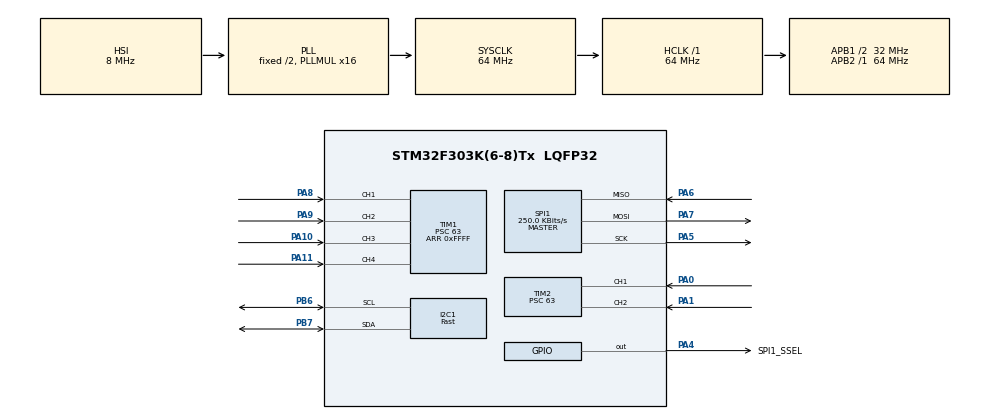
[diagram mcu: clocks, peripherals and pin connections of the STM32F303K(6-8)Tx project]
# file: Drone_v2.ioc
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I2C1.I2C_Speed_Mode=I2C_Fast
I2C1.Timing=0x0000020B
Mcu.Family=STM32F3
Mcu.Name=STM32F303K(6-8)Tx
Mcu.Package=LQFP32
NVIC.I2C1_ER_IRQn=true\:2\:0\:true\:false\:true\:true\:true
NVIC.I2C1_EV_IRQn=true\:3\:0\:true\:false\:true\:true\:true
NVIC.PriorityGroup=NVIC_PRIORITYGROUP_4
NVIC.TIM1_CC_IRQn=true\:0\:0\:false\:false\:true\:true\:true
NVIC.TIM2_IRQn=true\:1\:0\:true\:false\:true\:true\:true
PA0.Signal=S_TIM2_CH1_ETR
PA1.Signal=S_TIM2_CH2
PA10.Signal=S_TIM1_CH3
PA11.Signal=S_TIM1_CH4
PA4.GPIO_Label=SPI1_SSEL
PA4.Signal=GPIO_Output
PA5.Mode=Full_Duplex_Master
PA5.Signal=SPI1_SCK
PA6.Mode=Full_Duplex_Master
PA6.Signal=SPI1_MISO
PA7.Mode=Full_Duplex_Master
PA7.Signal=SPI1_MOSI
PA8.Signal=S_TIM1_CH1
PA9.Signal=S_TIM1_CH2
PB6.GPIO_FM6=__NULL
PB6.GPIO_Speed=GPIO_SPEED_FREQ_HIGH
PB6.Mode=I2C
PB6.Signal=I2C1_SCL
PB7.GPIO_FM7=SYSCFG_CFGR1_I2C_PB7_FMP
PB7.Mode=I2C
PB7.Signal=I2C1_SDA
ProjectManager.HeapSize=0x200
ProjectManager.StackSize=0x400
ProjectManager.TargetToolchain=MDK-ARM V5
RCC.AHBFreq_Value=64000000
RCC.APB1CLKDivider=RCC_HCLK_DIV2
RCC.APB1Freq_Value=32000000
RCC.APB1TimFreq_Value=64000000
RCC.APB2Freq_Value=64000000
RCC.APB2TimFreq_Value=64000000
RCC.CortexFreq_Value=64000000
RCC.HCLKFreq_Value=64000000
RCC.HSE_VALUE=8000000
RCC.HSI_VALUE=8000000
RCC.PLLMUL=RCC_PLL_MUL16
RCC.SYSCLKFreq_VALUE=64000000
RCC.SYSCLKSourceVirtual=RCC_SYSCLKSOURCE_PLLCLK
SH.S_TIM1_CH1.0=TIM1_CH1,Input_Capture1_from_TI1
SH.S_TIM1_CH2.0=TIM1_CH2,Input_Capture2_from_TI2
SH.S_TIM1_CH3.0=TIM1_CH3,Input_Capture3_from_TI3
SH.S_TIM1_CH4.0=TIM1_CH4,Input_Capture4_from_TI4
SH.S_TIM2_CH1_ETR.0=TIM2_CH1,Input_Capture1_from_TI1
SH.S_TIM2_CH2.0=TIM2_CH2,Input_Capture2_from_TI2
SPI1.BaudRatePrescaler=SPI_BAUDRATEPRESCALER_256
SPI1.CLKPhase=SPI_PHASE_2EDGE
SPI1.CalculateBaudRate=250.0 KBits/s
SPI1.DataSize=SPI_DATASIZE_8BIT
SPI1.Direction=SPI_DIRECTION_2LINES
SPI1.Mode=SPI_MODE_MASTER
SPI1.VirtualType=VM_MASTER
TIM1.Channel-Input_Capture1_from_TI1=TIM_CHANNEL_1
TIM1.Channel-Input_Capture2_from_TI2=TIM_CHANNEL_2
TIM1.Channel-Input_Capture3_from_TI3=TIM_CHANNEL_3
TIM1.Channel-Input_Capture4_from_TI4=TIM_CHANNEL_4
TIM1.ICPolarity_CH2=TIM_INPUTCHANNELPOLARITY_BOTHEDGE
TIM1.ICPolarity_CH3=TIM_INPUTCHANNELPOLARITY_BOTHEDGE
TIM1.ICPolarity_CH4=TIM_INPUTCHANNELPOLARITY_BOTHEDGE
TIM1.Period=0xFFFF
TIM1.Prescaler=63
TIM2.Channel-Input_Capture1_from_TI1=TIM_CHANNEL_1
TIM2.Channel-Input_Capture2_from_TI2=TIM_CHANNEL_2
TIM2.ICPolarity_CH1=TIM_INPUTCHANNELPOLARITY_BOTHEDGE
TIM2.ICPolarity_CH2=TIM_INPUTCHANNELPOLARITY_BOTHEDGE
TIM2.Period=0xFFFF
TIM2.Prescaler=63
board=NUCLEO-F303K8

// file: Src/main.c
/* USER CODE BEGIN Header */
/**
  ******************************************************************************
  * @file           : main.c
  * @brief          : Main program body
  ******************************************************************************
  * @attention
  *
  * <h2><center>&copy; Copyright (c) 2020 STMicroelectronics.
  * All rights reserved.</center></h2>
  *
  * This software component is licensed by ST under BSD 3-Clause license,
  * the "License"; You may not use this file except in compliance with the
  * License. You may obtain a copy of the License at:
  *                        opensource.org/licenses/BSD-3-Clause
  *
  ******************************************************************************
  */
/* USER CODE END Header */

#include "main.h"

/* USER CODE BEGIN Includes */
#include "mpu6050.h"
#include "motor_control.h"

/* USER CODE END Includes */

I2C_HandleTypeDef hi2c1;

SPI_HandleTypeDef hspi1;

TIM_HandleTypeDef htim1;
TIM_HandleTypeDef htim2;

/* USER CODE BEGIN PV */
TM_MPU6050_t MPU6050;
struct Input_captures{
	int32_t capt1[6];
	int32_t capt2[6];
	int is_First_Captured[6];
}values;

struct Remote{
	int32_t roll;
	int32_t pitch;
	int32_t throttle;
	int32_t yaw;
	int32_t vrb;
	int32_t vra;
}cmd;
/* USER CODE END PV */

void SystemClock_Config(void);
static void MX_GPIO_Init(void);
static void MX_I2C1_Init(void);
static void MX_SPI1_Init(void);
static void MX_TIM1_Init(void);
static void MX_TIM2_Init(void);

/* USER CODE BEGIN 0 */
void HAL_TIM_IC_CaptureCallback(TIM_HandleTypeDef *htim){

	if(htim->Instance == TIM1){
		if(htim->Channel == HAL_TIM_ACTIVE_CHANNEL_1){
			if (values.is_First_Captured[0] == 0){
				values.capt1[0] = HAL_TIM_ReadCapturedValue(htim, TIM_CHANNEL_1);
				values.is_First_Captured[0] = 1;
			}
			else if (values.is_First_Captured[0]){
				values.capt2[0] = HAL_TIM_ReadCapturedValue(htim, TIM_CHANNEL_1);
				cmd.roll = values.capt2[0] - values.capt1[0];

				if (cmd.roll < 0){
					cmd.roll += 0xFFFF;
				}
				values.is_First_Captured[0] = 0;
			}
		}
		else if(htim->Channel == HAL_TIM_ACTIVE_CHANNEL_2){
			if (values.is_First_Captured[1] == 0){
				values.capt1[1] = HAL_TIM_ReadCapturedValue(htim, TIM_CHANNEL_2);
				values.is_First_Captured[1] = 1;
			}
			else if (values.is_First_Captured[1]){
				values.capt2[1] = HAL_TIM_ReadCapturedValue(htim, TIM_CHANNEL_2);
				cmd.pitch = values.capt2[1] - values.capt1[1];

				if (cmd.pitch < 0){
					cmd.pitch += 0xFFFF;
				}
				values.is_First_Captured[1] = 0;
			}
		}
		else if(htim->Channel == HAL_TIM_ACTIVE_CHANNEL_3){
			if (values.is_First_Captured[2] == 0){
				values.capt1[2] = HAL_TIM_ReadCapturedValue(htim, TIM_CHANNEL_3);
				values.is_First_Captured[2] = 1;
			}
			else if (values.is_First_Captured[2]){
				values.capt2[2] = HAL_TIM_ReadCapturedValue(htim, TIM_CHANNEL_3);
				cmd.throttle = values.capt2[2] - values.capt1[2];

				if (cmd.throttle < 0){
					cmd.throttle += 0xFFFF;
				}
				values.is_First_Captured[2] = 0;
			}
		}
		else if(htim->Channel == HAL_TIM_ACTIVE_CHANNEL_4){
			if (values.is_First_Captured[3] == 0){
				values.capt1[3] = HAL_TIM_ReadCapturedValue(htim, TIM_CHANNEL_4);
				values.is_First_Captured[3] = 1;
			}
			else if (values.is_First_Captured[3]){
				values.capt2[3] = HAL_TIM_ReadCapturedValue(htim, TIM_CHANNEL_4);
				cmd.yaw = values.capt2[3] - values.capt1[3];

				if (cmd.yaw < 0){
					cmd.yaw += 0xFFFF;
				}
				values.is_First_Captured[3] = 0;
			}
		}
	}
	else if(htim->Instance == TIM2){
		if(htim->Channel == HAL_TIM_ACTIVE_CHANNEL_1){
			if (values.is_First_Captured[4] == 0){
				values.capt1[4] = HAL_TIM_ReadCapturedValue(htim, TIM_CHANNEL_1);
				values.is_First_Captured[4] = 1;
			}
			else if (values.is_First_Captured[4]){
				values.capt2[4] = HAL_TIM_ReadCapturedValue(htim, TIM_CHANNEL_1);
				cmd.vrb = values.capt2[4] - values.capt1[4];

				if (cmd.vrb < 0){
					cmd.vrb += 0xFFFF;
				}
				values.is_First_Captured[4] = 0;
			}
		}
		else if(htim->Channel == HAL_TIM_ACTIVE_CHANNEL_2){
			if (values.is_First_Captured[5] == 0){
				values.capt1[5] = HAL_TIM_ReadCapturedValue(htim, TIM_CHANNEL_2);
				values.is_First_Captured[5] = 1;
			}
			else if (values.is_First_Captured[5]){
				values.capt2[5] = HAL_TIM_ReadCapturedValue(htim, TIM_CHANNEL_2);
				cmd.vra = values.capt2[5] - values.capt1[5];

				if (cmd.vra < 0){
					cmd.vra += 0xFFFF;
				}
				values.is_First_Captured[5] = 0;
			}
		}
	}

}

/* USER CODE END 0 */

int main(void)
{

  /* MCU Configuration--------------------------------------------------------*/

  /* Reset of all peripherals, Initializes the Flash interface and the Systick. */
  HAL_Init();

  /* Configure the system clock */
  SystemClock_Config();

  /* Initialize all configured peripherals */
  MX_GPIO_Init();
  MX_I2C1_Init();
  MX_SPI1_Init();
  MX_TIM1_Init();
  MX_TIM2_Init();
  /* USER CODE BEGIN 2 */

/*Setup the registers of the MPU-6050 (500dfs / +/-8g) and start the gyro*/
	if(TM_MPU6050_Init(&MPU6050, TM_MPU6050_Device_0) != TM_MPU6050_Result_Ok){
		Error_Handler();
	}
/*Calibration of the MPU-6050*/
	if(TM_MPU6050_Calibrate(&MPU6050, TM_MPU6050_Device_0) != TM_MPU6050_Result_Ok){
		Error_Handler();
	}

/*Activate Remote control captures*/
	HAL_TIM_IC_Start_IT(&htim1,TIM_CHANNEL_1);
	HAL_TIM_IC_Start_IT(&htim1,TIM_CHANNEL_2);
	HAL_TIM_IC_Start_IT(&htim1,TIM_CHANNEL_3);
	HAL_TIM_IC_Start_IT(&htim1,TIM_CHANNEL_4);
	HAL_TIM_IC_Start_IT(&htim2,TIM_CHANNEL_1);
	HAL_TIM_IC_Start_IT(&htim2,TIM_CHANNEL_2);

/*Initialize SPI communication*/
	HAL_GPIO_WritePin(SPI1_SSEL_GPIO_Port, SPI1_SSEL_Pin, GPIO_PIN_SET);

/*
* id_moteurs :
* 0 ---> Moteur Avant gauche
* 1 ---> Moteur Avant droit
* 2 ---> Moteur Arriиre gauche
* 3 ---> Moteur Arriиre droit

* sense :
* 0 ---> Horaire
* 1 ---> Anti-horaire

* duty : [0 , 100]
*/

	//run_moteurs(3,1);

  /* USER CODE END 2 */

  /* Infinite loop */
  /* USER CODE BEGIN WHILE */
  while (1)
  {
/*Read and Convert all the data from the MPU6050*/
		if(TM_MPU6050_ReadConvert_Pitch_Roll(&MPU6050, TM_MPU6050_Device_0) != TM_MPU6050_Result_Ok){
			Error_Handler();
		}

    /* USER CODE END WHILE */

  }
}

void SystemClock_Config(void)
{
  RCC_OscInitTypeDef RCC_OscInitStruct = {0};
  RCC_ClkInitTypeDef RCC_ClkInitStruct = {0};
  RCC_PeriphCLKInitTypeDef PeriphClkInit = {0};

  /** Initializes the CPU, AHB and APB busses clocks
  */
  RCC_OscInitStruct.OscillatorType = RCC_OSCILLATORTYPE_HSI;
  RCC_OscInitStruct.HSIState = RCC_HSI_ON;
  RCC_OscInitStruct.HSICalibrationValue = RCC_HSICALIBRATION_DEFAULT;
  RCC_OscInitStruct.PLL.PLLState = RCC_PLL_ON;
  RCC_OscInitStruct.PLL.PLLSource = RCC_PLLSOURCE_HSI;
  RCC_OscInitStruct.PLL.PLLMUL = RCC_PLL_MUL16;
  if (HAL_RCC_OscConfig(&RCC_OscInitStruct) != HAL_OK)
  {
    Error_Handler();
  }
  /** Initializes the CPU, AHB and APB busses clocks
  */
  RCC_ClkInitStruct.ClockType = RCC_CLOCKTYPE_HCLK|RCC_CLOCKTYPE_SYSCLK
                              |RCC_CLOCKTYPE_PCLK1|RCC_CLOCKTYPE_PCLK2;
  RCC_ClkInitStruct.SYSCLKSource = RCC_SYSCLKSOURCE_PLLCLK;
  RCC_ClkInitStruct.AHBCLKDivider = RCC_SYSCLK_DIV1;
  RCC_ClkInitStruct.APB1CLKDivider = RCC_HCLK_DIV2;
  RCC_ClkInitStruct.APB2CLKDivider = RCC_HCLK_DIV1;

  if (HAL_RCC_ClockConfig(&RCC_ClkInitStruct, FLASH_LATENCY_2) != HAL_OK)
  {
    Error_Handler();
  }
  PeriphClkInit.PeriphClockSelection = RCC_PERIPHCLK_I2C1|RCC_PERIPHCLK_TIM1;
  PeriphClkInit.I2c1ClockSelection = RCC_I2C1CLKSOURCE_HSI;
  PeriphClkInit.Tim1ClockSelection = RCC_TIM1CLK_HCLK;
  if (HAL_RCCEx_PeriphCLKConfig(&PeriphClkInit) != HAL_OK)
  {
    Error_Handler();
  }
}

static void MX_I2C1_Init(void)
{

  hi2c1.Instance = I2C1;
  hi2c1.Init.Timing = 0x0000020B;
  hi2c1.Init.OwnAddress1 = 0;
  hi2c1.Init.AddressingMode = I2C_ADDRESSINGMODE_7BIT;
  hi2c1.Init.DualAddressMode = I2C_DUALADDRESS_DISABLE;
  hi2c1.Init.OwnAddress2 = 0;
  hi2c1.Init.OwnAddress2Masks = I2C_OA2_NOMASK;
  hi2c1.Init.GeneralCallMode = I2C_GENERALCALL_DISABLE;
  hi2c1.Init.NoStretchMode = I2C_NOSTRETCH_DISABLE;
  if (HAL_I2C_Init(&hi2c1) != HAL_OK)
  {
    Error_Handler();
  }
  /** Configure Analogue filter
  */
  if (HAL_I2CEx_ConfigAnalogFilter(&hi2c1, I2C_ANALOGFILTER_ENABLE) != HAL_OK)
  {
    Error_Handler();
  }
  /** Configure Digital filter
  */
  if (HAL_I2CEx_ConfigDigitalFilter(&hi2c1, 0) != HAL_OK)
  {
    Error_Handler();
  }

}

static void MX_SPI1_Init(void)
{

  /* SPI1 parameter configuration*/
  hspi1.Instance = SPI1;
  hspi1.Init.Mode = SPI_MODE_MASTER;
  hspi1.Init.Direction = SPI_DIRECTION_2LINES;
  hspi1.Init.DataSize = SPI_DATASIZE_8BIT;
  hspi1.Init.CLKPolarity = SPI_POLARITY_LOW;
  hspi1.Init.CLKPhase = SPI_PHASE_2EDGE;
  hspi1.Init.NSS = SPI_NSS_SOFT;
  hspi1.Init.BaudRatePrescaler = SPI_BAUDRATEPRESCALER_256;
  hspi1.Init.FirstBit = SPI_FIRSTBIT_MSB;
  hspi1.Init.TIMode = SPI_TIMODE_DISABLE;
  hspi1.Init.CRCCalculation = SPI_CRCCALCULATION_DISABLE;
  hspi1.Init.CRCPolynomial = 7;
  hspi1.Init.CRCLength = SPI_CRC_LENGTH_DATASIZE;
  hspi1.Init.NSSPMode = SPI_NSS_PULSE_DISABLE;
  if (HAL_SPI_Init(&hspi1) != HAL_OK)
  {
    Error_Handler();
  }

}

static void MX_TIM1_Init(void)
{

  TIM_MasterConfigTypeDef sMasterConfig = {0};
  TIM_IC_InitTypeDef sConfigIC = {0};

  htim1.Instance = TIM1;
  htim1.Init.Prescaler = 63;
  htim1.Init.CounterMode = TIM_COUNTERMODE_UP;
  htim1.Init.Period = 0xFFFF;
  htim1.Init.ClockDivision = TIM_CLOCKDIVISION_DIV1;
  htim1.Init.RepetitionCounter = 0;
  htim1.Init.AutoReloadPreload = TIM_AUTORELOAD_PRELOAD_DISABLE;
  if (HAL_TIM_IC_Init(&htim1) != HAL_OK)
  {
    Error_Handler();
  }
  sMasterConfig.MasterOutputTrigger = TIM_TRGO_RESET;
  sMasterConfig.MasterOutputTrigger2 = TIM_TRGO2_RESET;
  sMasterConfig.MasterSlaveMode = TIM_MASTERSLAVEMODE_DISABLE;
  if (HAL_TIMEx_MasterConfigSynchronization(&htim1, &sMasterConfig) != HAL_OK)
  {
    Error_Handler();
  }
  sConfigIC.ICPolarity = TIM_INPUTCHANNELPOLARITY_RISING;
  sConfigIC.ICSelection = TIM_ICSELECTION_DIRECTTI;
  sConfigIC.ICPrescaler = TIM_ICPSC_DIV1;
  sConfigIC.ICFilter = 0;
  if (HAL_TIM_IC_ConfigChannel(&htim1, &sConfigIC, TIM_CHANNEL_1) != HAL_OK)
  {
    Error_Handler();
  }
  sConfigIC.ICPolarity = TIM_INPUTCHANNELPOLARITY_BOTHEDGE;
  if (HAL_TIM_IC_ConfigChannel(&htim1, &sConfigIC, TIM_CHANNEL_2) != HAL_OK)
  {
    Error_Handler();
  }
  if (HAL_TIM_IC_ConfigChannel(&htim1, &sConfigIC, TIM_CHANNEL_3) != HAL_OK)
  {
    Error_Handler();
  }
  if (HAL_TIM_IC_ConfigChannel(&htim1, &sConfigIC, TIM_CHANNEL_4) != HAL_OK)
  {
    Error_Handler();
  }

}

static void MX_TIM2_Init(void)
{

  TIM_MasterConfigTypeDef sMasterConfig = {0};
  TIM_IC_InitTypeDef sConfigIC = {0};

  htim2.Instance = TIM2;
  htim2.Init.Prescaler = 63;
  htim2.Init.CounterMode = TIM_COUNTERMODE_UP;
  htim2.Init.Period = 0xFFFF;
  htim2.Init.ClockDivision = TIM_CLOCKDIVISION_DIV1;
  htim2.Init.AutoReloadPreload = TIM_AUTORELOAD_PRELOAD_DISABLE;
  if (HAL_TIM_IC_Init(&htim2) != HAL_OK)
  {
    Error_Handler();
  }
  sMasterConfig.MasterOutputTrigger = TIM_TRGO_RESET;
  sMasterConfig.MasterSlaveMode = TIM_MASTERSLAVEMODE_DISABLE;
  if (HAL_TIMEx_MasterConfigSynchronization(&htim2, &sMasterConfig) != HAL_OK)
  {
    Error_Handler();
  }
  sConfigIC.ICPolarity = TIM_INPUTCHANNELPOLARITY_BOTHEDGE;
  sConfigIC.ICSelection = TIM_ICSELECTION_DIRECTTI;
  sConfigIC.ICPrescaler = TIM_ICPSC_DIV1;
  sConfigIC.ICFilter = 0;
  if (HAL_TIM_IC_ConfigChannel(&htim2, &sConfigIC, TIM_CHANNEL_1) != HAL_OK)
  {
    Error_Handler();
  }
  if (HAL_TIM_IC_ConfigChannel(&htim2, &sConfigIC, TIM_CHANNEL_2) != HAL_OK)
  {
    Error_Handler();
  }

}

static void MX_GPIO_Init(void)
{
  GPIO_InitTypeDef GPIO_InitStruct = {0};

  /* GPIO Ports Clock Enable */
  __HAL_RCC_GPIOA_CLK_ENABLE();
  __HAL_RCC_GPIOB_CLK_ENABLE();

  /*Configure GPIO pin Output Level */
  HAL_GPIO_WritePin(SPI1_SSEL_GPIO_Port, SPI1_SSEL_Pin, GPIO_PIN_RESET);

  /*Configure GPIO pin : SPI1_SSEL_Pin */
  GPIO_InitStruct.Pin = SPI1_SSEL_Pin;
  GPIO_InitStruct.Mode = GPIO_MODE_OUTPUT_PP;
  GPIO_InitStruct.Pull = GPIO_NOPULL;
  GPIO_InitStruct.Speed = GPIO_SPEED_FREQ_LOW;
  HAL_GPIO_Init(SPI1_SSEL_GPIO_Port, &GPIO_InitStruct);

}

void Error_Handler(void)
{
  /* USER CODE BEGIN Error_Handler_Debug */
  /* User can add his own implementation to report the HAL error return state */
	while(1);

  /* USER CODE END Error_Handler_Debug */
}

/************************ (C) COPYRIGHT STMicroelectronics *****END OF FILE****/
